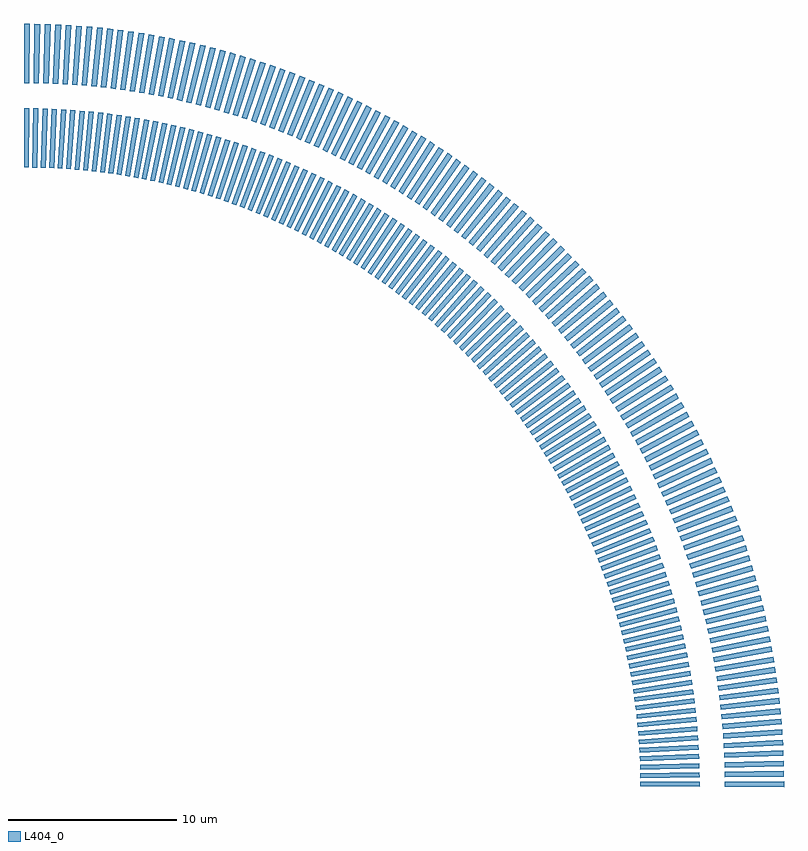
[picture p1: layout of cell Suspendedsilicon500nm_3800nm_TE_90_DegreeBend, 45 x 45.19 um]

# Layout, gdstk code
import gdstk
lib = gdstk.Library(unit=1e-6, precision=1e-09)
def P(c, l, *ps):  # polygons
    for p in ps: c.add(gdstk.Polygon(p, *l))
L404_0 = (404, 0)

suspendedsilicon500nm_38 = lib.new_cell('Suspendedsilicon500nm_3800nm_TE_90_DegreeBend')
P(suspendedsilicon500nm_38, L404_0, [(36.049,-20.191),(35.894,-19.921),(38.921,-18.164),(39.09,-18.457)],
  [(35.763,-19.697),(35.604,-19.429),(38.607,-17.631),(38.779,-17.921)],
  [(35.47,-19.207),(35.308,-18.942),(38.286,-17.103),(38.462,-17.39)],
  [(35.171,-18.722),(35.005,-18.458),(37.957,-16.578),(38.137,-16.864)],
  [(30.389,-20.532),(30.236,-20.305),(33.136,-18.344),(33.303,-18.594)],
  [(30.108,-20.116),(29.952,-19.891),(32.825,-17.891),(32.995,-18.138)],
  [(29.821,-19.704),(29.663,-19.481),(32.507,-17.442),(32.681,-17.686)],
  [(29.529,-19.296),(29.368,-19.075),(32.184,-16.997),(32.361,-17.239)],
  [(29.231,-18.892),(29.067,-18.674),(31.854,-16.557),(32.035,-16.796)],
  [(28.928,-18.492),(28.76,-18.276),(31.518,-16.121),(31.702,-16.358)],
  [(22.594,-12.084),(22.378,-11.915),(24.524,-9.15),(24.761,-9.335)],
  [(22.198,-11.776),(21.98,-11.61),(24.088,-8.816),(24.326,-8.997)],
  [(21.797,-11.473),(21.577,-11.31),(23.646,-8.488),(23.887,-8.666)],
  [(21.393,-11.176),(21.17,-11.017),(23.2,-8.165),(23.444,-8.34)],
  [(20.984,-10.885),(20.759,-10.728),(22.75,-7.85),(22.996,-8.021)],
  [(20.571,-10.599),(20.345,-10.446),(22.296,-7.54),(22.544,-7.708)],
  [(22.438,-5.839),(22.176,-5.671),(24.046,-2.713),(24.33,-2.894)],
  [(21.956,-5.534),(21.691,-5.37),(23.521,-2.386),(23.808,-2.563)],
  [(21.47,-5.235),(21.203,-5.075),(22.991,-2.066),(23.28,-2.24)],
  [(20.979,-4.943),(20.71,-4.787),(22.457,-1.754),(22.749,-1.923)],
  [(28.305,-17.705),(28.132,-17.494),(30.829,-15.264),(31.02,-15.496)],
  [(31.819,-14.109),(31.619,-13.871),(34.285,-11.604),(34.503,-11.862)],
  [(27.986,-17.318),(27.809,-17.109),(30.476,-14.842),(30.669,-15.071)],
  [(31.45,-13.674),(31.246,-13.438),(33.881,-11.135),(34.103,-11.39)],
  [(27.661,-16.936),(27.482,-16.729),(30.117,-14.426),(30.313,-14.652)],
  [(31.075,-13.244),(30.868,-13.011),(33.471,-10.672),(33.696,-10.924)],
  [(27.331,-16.558),(27.149,-16.353),(29.752,-14.014),(29.952,-14.238)],
  [(30.694,-12.819),(30.483,-12.59),(33.054,-10.215),(33.282,-10.463)],
  [(26.996,-16.184),(26.811,-15.982),(29.382,-13.607),(29.584,-13.829)],
  [(30.307,-12.4),(30.093,-12.173),(32.631,-9.763),(32.863,-10.009)],
  [(26.655,-15.815),(26.468,-15.616),(29.006,-13.206),(29.211,-13.424)],
  [(29.914,-11.986),(29.698,-11.762),(32.202,-9.317),(32.437,-9.56)],
  [(26.31,-15.451),(26.12,-15.254),(28.624,-12.81),(28.833,-13.025)],
  [(29.516,-11.577),(29.296,-11.356),(31.767,-8.877),(32.005,-9.117)],
  [(25.96,-15.092),(25.766,-14.898),(28.237,-12.419),(28.449,-12.631)],
  [(29.112,-11.174),(28.889,-10.956),(31.326,-8.444),(31.567,-8.68)],
  [(25.604,-14.737),(25.409,-14.546),(27.845,-12.033),(28.06,-12.243)],
  [(28.703,-10.776),(28.477,-10.562),(30.879,-8.016),(31.123,-8.249)],
  [(25.244,-14.388),(25.046,-14.199),(27.448,-11.653),(27.665,-11.86)],
  [(28.288,-10.385),(28.059,-10.173),(30.426,-7.595),(30.673,-7.824)],
  [(24.879,-14.043),(24.678,-13.857),(27.045,-11.278),(27.265,-11.482)],
  [(27.868,-9.998),(27.636,-9.79),(29.967,-7.179),(30.218,-7.405)],
  [(24.51,-13.703),(24.306,-13.52),(26.637,-10.909),(26.86,-11.11)],
  [(27.442,-9.618),(27.208,-9.413),(29.502,-6.77),(29.756,-6.993)],
  [(24.136,-13.369),(23.93,-13.189),(26.224,-10.546),(26.45,-10.743)],
  [(27.011,-9.244),(26.774,-9.042),(29.032,-6.368),(29.29,-6.587)],
  [(23.757,-13.04),(23.548,-12.862),(25.807,-10.188),(26.035,-10.383)],
  [(26.576,-8.875),(26.336,-8.677),(28.557,-5.972),(28.817,-6.187)],
  [(23.374,-12.716),(23.163,-12.541),(25.384,-9.836),(25.615,-10.027)],
  [(26.135,-8.513),(25.892,-8.318),(28.076,-5.583),(28.339,-5.794)],
  [(22.986,-12.397),(22.773,-12.225),(24.957,-9.49),(25.19,-9.678)],
  [(25.689,-8.157),(25.444,-7.965),(27.59,-5.2),(27.856,-5.408)],
  [(34.865,-18.24),(34.695,-17.979),(37.621,-16.059),(37.805,-16.342)],
  [(25.239,-7.807),(24.991,-7.618),(27.099,-4.824),(27.367,-5.028)],
  [(33.574,-16.357),(33.391,-16.106),(36.207,-14.028),(36.406,-14.3)],
  [(24.783,-7.463),(24.533,-7.278),(26.602,-4.455),(26.873,-4.655)],
  [(34.232,-17.29),(34.056,-17.034),(36.928,-15.034),(37.12,-15.311)],
  [(24.323,-7.125),(24.07,-6.944),(26.1,-4.092),(26.375,-4.289)],
  [(33.236,-15.898),(33.049,-15.649),(35.836,-13.533),(36.039,-13.802)],
  [(23.859,-6.794),(23.603,-6.616),(25.594,-3.737),(25.871,-3.93)],
  [(34.552,-17.763),(34.378,-17.504),(37.278,-15.544),(37.466,-15.824)],
  [(23.389,-6.469),(23.132,-6.294),(25.083,-3.389),(25.362,-3.578)],
  [(32.891,-15.443),(32.7,-15.197),(35.458,-13.042),(35.665,-13.309)],
  [(22.916,-6.151),(22.656,-5.98),(24.567,-3.047),(24.849,-3.233)],
  [(33.907,-16.821),(33.726,-16.568),(36.571,-14.528),(36.766,-14.803)],
  [(32.54,-14.994),(32.346,-14.75),(35.074,-12.558),(35.284,-12.821)],
  [(28.619,-18.097),(28.449,-17.883),(31.177,-15.69),(31.364,-15.925)],
  [(32.183,-14.549),(31.985,-14.308),(34.683,-12.078),(34.897,-12.339)],
  [(19.311,-9.776),(19.078,-9.632),(20.907,-6.649),(21.162,-6.806)],
  [(19.735,-10.045),(19.504,-9.898),(21.374,-6.939),(21.627,-7.101)],
  [(18.883,-9.514),(18.648,-9.373),(20.436,-6.364),(20.694,-6.519)],
  [(20.155,-10.319),(19.926,-10.169),(21.837,-7.236),(22.088,-7.401)],
  [(18.452,-9.257),(18.215,-9.12),(19.962,-6.087),(20.221,-6.237)],
  [(20.485,-4.658),(20.214,-4.505),(21.919,-1.449),(22.213,-1.614)],
  [(18.017,-9.006),(17.778,-8.872),(19.483,-5.815),(19.745,-5.963)],
  [(19.987,-4.38),(19.713,-4.231),(21.376,-1.151),(21.672,-1.312)],
  [(17.579,-8.762),(17.338,-8.631),(19.001,-5.551),(19.264,-5.694)],
  [(19.485,-4.108),(19.209,-3.963),(20.83,-0.861),(21.128,-1.018)],
  [(17.137,-8.523),(16.895,-8.395),(18.515,-5.293),(18.781,-5.433)],
  [(18.979,-3.844),(18.702,-3.703),(20.279,-0.578),(20.58,-0.731)],
  [(16.692,-8.29),(16.449,-8.166),(18.026,-5.042),(18.293,-5.178)],
  [(18.47,-3.586),(18.191,-3.449),(19.725,-0.303),(20.028,-0.452)],
  [(16.245,-8.064),(15.999,-7.943),(17.533,-4.797),(17.802,-4.93)],
  [(17.957,-3.336),(17.676,-3.202),(19.167,-0.036),(19.472,-0.181)],
  [(15.794,-7.844),(15.546,-7.726),(17.037,-4.559),(17.308,-4.688)],
  [(17.441,-3.093),(17.158,-2.963),(18.605,0.223),(18.912,0.082)],
  [(15.34,-7.63),(15.091,-7.515),(16.538,-4.329),(16.811,-4.454)],
  [(16.922,-2.856),(16.637,-2.731),(18.04,0.475),(18.349,0.338)],
  [(14.883,-7.422),(14.632,-7.311),(16.036,-4.105),(16.31,-4.226)],
  [(16.399,-2.627),(16.113,-2.505),(17.472,0.719),(17.782,0.587)],
  [(14.423,-7.22),(14.171,-7.113),(15.53,-3.888),(15.806,-4.005)],
  [(15.873,-2.405),(15.585,-2.287),(16.9,0.955),(17.212,0.827)],
  [(13.961,-7.025),(13.708,-6.921),(15.022,-3.678),(15.3,-3.791)],
  [(15.345,-2.191),(15.055,-2.077),(16.325,1.184),(16.639,1.06)],
  [(13.496,-6.836),(13.241,-6.736),(14.511,-3.475),(14.79,-3.584)],
  [(14.813,-1.983),(14.522,-1.873),(15.747,1.404),(16.062,1.285)],
  [(13.028,-6.654),(12.772,-6.557),(13.997,-3.279),(14.278,-3.385)],
  [(14.279,-1.783),(13.986,-1.677),(15.166,1.617),(15.483,1.502)],
  [(12.558,-6.478),(12.301,-6.385),(13.48,-3.09),(13.762,-3.192)],
  [(13.741,-1.591),(13.447,-1.489),(14.582,1.821),(14.9,1.711)],
  [(12.086,-6.309),(11.827,-6.219),(12.961,-2.908),(13.245,-3.006)],
  [(13.202,-1.405),(12.906,-1.308),(13.995,2.018),(14.315,1.912)],
  [(11.611,-6.146),(11.351,-6.06),(12.44,-2.733),(12.725,-2.828)],
  [(12.66,-1.228),(12.363,-1.134),(13.405,2.206),(13.727,2.104)],
  [(11.134,-5.989),(10.873,-5.907),(11.916,-2.566),(12.202,-2.656)],
  [(12.115,-1.057),(11.817,-0.968),(12.814,2.386),(13.137,2.289)],
  [(10.655,-5.84),(10.393,-5.761),(11.39,-2.406),(11.677,-2.492)],
  [(11.568,-0.895),(11.269,-0.809),(12.219,2.559),(12.544,2.466)],
  [(10.174,-5.696),(9.911,-5.621),(10.861,-2.253),(11.15,-2.335)],
  [(11.019,-0.739),(10.719,-0.658),(11.623,2.723),(11.948,2.634)],
  [(9.691,-5.56),(9.427,-5.488),(10.331,-2.107),(10.621,-2.185)],
  [(10.468,-0.591),(10.166,-0.514),(11.024,2.878),(11.351,2.794)],
  [(9.207,-5.43),(8.941,-5.362),(9.799,-1.968),(10.089,-2.043)],
  [(9.915,-0.451),(9.612,-0.378),(10.423,3.026),(10.751,2.946)],
  [(8.72,-5.307),(8.454,-5.242),(9.265,-1.837),(9.556,-1.908)],
  [(9.36,-0.319),(9.056,-0.25),(9.82,3.165),(10.149,3.09)],
  [(8.232,-5.19),(7.965,-5.129),(8.729,-1.714),(9.021,-1.78)],
  [(8.803,-0.194),(8.498,-0.129),(9.215,3.296),(9.545,3.225)],
  [(7.742,-5.08),(7.474,-5.023),(8.191,-1.597),(8.485,-1.66)],
  [(8.244,-0.077),(7.939,-0.016),(8.609,3.418),(8.94,3.352)],
  [(7.251,-4.977),(6.982,-4.924),(7.652,-1.488),(7.946,-1.547)],
  [(7.684,0.032),(7.378,0.088),(8.001,3.532),(8.332,3.471)],
  [(6.758,-4.881),(6.489,-4.831),(7.112,-1.387),(7.407,-1.441)],
  [(7.123,0.134),(6.816,0.186),(7.391,3.638),(7.724,3.582)],
  [(6.265,-4.791),(5.995,-4.745),(6.57,-1.293),(6.865,-1.343)],
  [(6.56,0.228),(6.253,0.276),(6.78,3.736),(7.113,3.684)],
  [(5.77,-4.708),(5.499,-4.666),(6.027,-1.206),(6.323,-1.252)],
  [(5.996,0.314),(5.688,0.358),(6.168,3.825),(6.502,3.777)],
  [(5.274,-4.633),(5.002,-4.594),(5.482,-1.127),(5.779,-1.169)],
  [(5.431,0.393),(5.122,0.432),(5.554,3.905),(5.889,3.862)],
  [(4.776,-4.563),(4.505,-4.529),(4.937,-1.055),(5.234,-1.094)],
  [(4.865,0.463),(4.555,0.499),(4.94,3.978),(5.275,3.939)],
  [(4.278,-4.501),(4.006,-4.47),(4.391,-0.991),(4.689,-1.025)],
  [(4.297,0.526),(3.988,0.557),(4.324,4.041),(4.66,4.008)],
  [(3.78,-4.446),(3.507,-4.418),(3.844,-0.935),(4.142,-0.965)],
  [(3.729,0.582),(3.419,0.608),(3.708,4.096),(4.044,4.067)],
  [(3.28,-4.397),(3.007,-4.374),(3.296,-0.886),(3.595,-0.911)],
  [(3.161,0.629),(2.85,0.651),(3.091,4.143),(3.427,4.119)],
  [(2.78,-4.356),(2.507,-4.336),(2.747,-0.844),(3.047,-0.866)],
  [(2.592,0.668),(2.281,0.687),(2.473,4.181),(2.81,4.162)],
  [(2.279,-4.321),(2.006,-4.305),(2.198,-0.81),(2.498,-0.828)],
  [(2.022,0.7),(1.711,0.714),(1.855,4.211),(2.192,4.196)],
  [(1.778,-4.293),(1.505,-4.281),(1.649,-0.784),(1.949,-0.797)],
  [(1.452,0.724),(1.141,0.734),(1.237,4.232),(1.574,4.222)],
  [(1.277,-4.272),(1.003,-4.263),(1.099,-0.765),(1.399,-0.774)],
  [(0.881,0.74),(0.57,0.746),(0.618,4.245),(0.956,4.239)],
  [(0.775,-4.258),(0.501,-4.253),(0.549,-0.753),(0.849,-0.759)],
  [(0.311,0.748),(0,0.75),(0,4.25),(0.337,4.248)],
  [(0.273,-4.251),(0,-4.25),(0,-0.75),(0.299,-0.751)],
  [(37.125,-22.203),(36.985,-21.926),(40.104,-20.338),(40.256,-20.639)],
  [(32.652,-24.438),(32.529,-24.194),(35.648,-22.606),(35.783,-22.874)],
  [(36.866,-21.695),(36.722,-21.419),(39.82,-19.789),(39.976,-20.088)],
  [(32.425,-23.991),(32.298,-23.748),(35.395,-22.118),(35.534,-22.384)],
  [(36.601,-21.19),(36.453,-20.916),(39.528,-19.243),(39.688,-19.54)],
  [(32.191,-23.546),(32.061,-23.305),(35.136,-21.633),(35.278,-21.897)],
  [(36.329,-20.688),(36.177,-20.416),(39.228,-18.702),(39.392,-18.996)],
  [(31.952,-23.105),(31.818,-22.866),(34.869,-21.151),(35.015,-21.413)],
  [(44.999,-40.939),(41.499,-40.924),(41.499,-40.613),(44.999,-40.602)],
  [(31.706,-22.668),(31.569,-22.43),(34.597,-20.674),(34.746,-20.934)],
  [(39.999,-40.918),(36.499,-40.903),(36.499,-40.63),(39.999,-40.618)],
  [(31.454,-22.233),(31.315,-21.998),(34.317,-20.2),(34.47,-20.458)],
  [(41.498,-40.354),(41.493,-40.043),(44.993,-39.983),(44.997,-40.32)],
  [(31.197,-21.803),(31.054,-21.569),(34.032,-19.73),(34.188,-19.986)],
  [(36.498,-40.402),(36.494,-40.128),(39.994,-40.068),(39.998,-40.368)],
  [(30.933,-21.375),(30.787,-21.144),(33.739,-19.264),(33.9,-19.518)],
  [(41.488,-39.783),(41.48,-39.472),(44.978,-39.364),(44.987,-39.702)],
  [(30.664,-20.952),(30.515,-20.723),(33.441,-18.802),(33.604,-19.054)],
  [(36.49,-39.9),(36.482,-39.626),(39.981,-39.518),(39.989,-39.818)],
  [(41.471,-39.213),(41.458,-38.902),(44.955,-38.746),(44.969,-39.083)],
  [(36.474,-39.398),(36.463,-39.125),(39.96,-38.969),(39.972,-39.268)],
  [(41.446,-38.643),(41.429,-38.332),(44.923,-38.128),(44.941,-38.465)],
  [(36.452,-38.897),(36.438,-38.623),(39.932,-38.419),(39.948,-38.719)],
  [(41.413,-38.073),(41.392,-37.763),(44.883,-37.511),(44.906,-37.847)],
  [(36.424,-38.396),(36.405,-38.123),(39.896,-37.871),(39.916,-38.17)],
  [(41.372,-37.504),(41.347,-37.194),(44.834,-36.894),(44.862,-37.23)],
  [(36.388,-37.895),(36.365,-37.622),(39.852,-37.322),(39.877,-37.621)],
  [(41.324,-36.935),(41.294,-36.626),(44.777,-36.278),(44.809,-36.614)],
  [(36.345,-37.395),(36.319,-37.122),(39.802,-36.775),(39.83,-37.073)],
  [(41.268,-36.368),(41.233,-36.058),(44.711,-35.663),(44.748,-35.998)],
  [(36.295,-36.896),(36.266,-36.623),(39.743,-36.228),(39.776,-36.526)],
  [(41.203,-35.801),(41.165,-35.492),(44.637,-35.048),(44.678,-35.383)],
  [(36.239,-36.397),(36.205,-36.125),(39.677,-35.682),(39.714,-35.979)],
  [(41.131,-35.235),(41.089,-34.926),(44.554,-34.435),(44.6,-34.769)],
  [(36.176,-35.899),(36.138,-35.628),(39.604,-35.137),(39.645,-35.434)],
  [(41.052,-34.67),(41.005,-34.362),(44.463,-33.823),(44.514,-34.157)],
  [(36.106,-35.402),(36.065,-35.131),(39.523,-34.593),(39.568,-34.889)],
  [(40.964,-34.106),(40.913,-33.799),(44.364,-33.212),(44.419,-33.545)],
  [(36.029,-34.906),(35.984,-34.636),(39.434,-34.05),(39.484,-34.346)],
  [(40.869,-33.543),(40.814,-33.237),(44.256,-32.603),(44.316,-32.935)],
  [(35.945,-34.411),(35.896,-34.142),(39.339,-33.508),(39.392,-33.803)],
  [(40.766,-32.982),(40.707,-32.676),(44.14,-31.995),(44.204,-32.327)],
  [(35.854,-33.918),(35.802,-33.649),(39.235,-32.968),(39.293,-33.263)],
  [(40.655,-32.422),(40.592,-32.117),(44.015,-31.389),(44.084,-31.72)],
  [(35.757,-33.425),(35.701,-33.157),(39.125,-32.429),(39.186,-32.723)],
  [(40.537,-31.864),(40.469,-31.56),(43.882,-30.785),(43.956,-31.114)],
  [(35.653,-32.934),(35.593,-32.667),(39.007,-31.892),(39.072,-32.185)],
  [(40.411,-31.307),(40.339,-31.004),(43.741,-30.182),(43.819,-30.511)],
  [(35.542,-32.445),(35.479,-32.178),(38.881,-31.357),(38.95,-31.648)],
  [(40.277,-30.752),(40.201,-30.451),(43.592,-29.582),(43.674,-29.909)],
  [(35.425,-31.957),(35.358,-31.691),(38.748,-30.823),(38.822,-31.114)],
  [(40.136,-30.2),(40.056,-29.899),(43.434,-28.984),(43.521,-29.31)],
  [(35.3,-31.471),(35.23,-31.206),(38.608,-30.291),(38.685,-30.581)],
  [(39.987,-29.649),(39.903,-29.349),(43.268,-28.388),(43.36,-28.712)],
  [(35.169,-30.986),(35.095,-30.723),(38.461,-29.761),(38.542,-30.05)],
  [(39.831,-29.1),(39.742,-28.802),(43.094,-27.794),(43.19,-28.117)],
  [(35.032,-30.503),(34.954,-30.241),(38.306,-29.233),(38.391,-29.521)],
  [(39.667,-28.553),(39.574,-28.256),(42.912,-27.203),(43.012,-27.525)],
  [(34.888,-30.023),(34.806,-29.761),(38.144,-28.708),(38.233,-28.994)],
  [(39.495,-28.009),(39.399,-27.713),(42.722,-26.614),(42.826,-26.935)],
  [(34.737,-29.544),(34.652,-29.284),(37.975,-28.184),(38.068,-28.47)],
  [(39.317,-27.467),(39.216,-27.173),(42.523,-26.028),(42.632,-26.347)],
  [(34.58,-29.068),(34.491,-28.809),(37.798,-27.663),(37.895,-27.947)],
  [(39.13,-26.928),(39.025,-26.635),(42.317,-25.444),(42.43,-25.762)],
  [(34.416,-28.593),(34.324,-28.335),(37.615,-27.145),(37.716,-27.427)],
  [(38.936,-26.391),(38.828,-26.1),(42.102,-24.864),(42.22,-25.18)],
  [(34.245,-28.121),(34.15,-27.865),(37.424,-26.629),(37.529,-26.91)],
  [(38.735,-25.857),(38.623,-25.567),(41.88,-24.287),(42.002,-24.601)],
  [(34.068,-27.651),(33.969,-27.396),(37.227,-26.116),(37.335,-26.395)],
  [(38.527,-25.326),(38.41,-25.037),(41.65,-23.712),(41.776,-24.025)],
  [(33.885,-27.184),(33.782,-26.93),(37.022,-25.605),(37.134,-25.883)],
  [(38.311,-24.798),(38.191,-24.511),(41.411,-23.141),(41.542,-23.452)],
  [(33.695,-26.72),(33.589,-26.467),(36.81,-25.098),(36.926,-25.374)],
  [(38.088,-24.272),(37.964,-23.987),(41.165,-22.574),(41.301,-22.883)],
  [(33.499,-26.258),(33.39,-26.007),(36.591,-24.593),(36.712,-24.868)],
  [(37.858,-23.75),(37.73,-23.467),(40.912,-22.009),(41.051,-22.317)],
  [(33.297,-25.798),(33.184,-25.549),(36.366,-24.091),(36.49,-24.365)],
  [(37.621,-23.231),(37.488,-22.95),(40.65,-21.448),(40.794,-21.754)],
  [(33.088,-25.342),(32.972,-25.094),(36.133,-23.593),(36.261,-23.865)],
  [(37.376,-22.716),(37.24,-22.436),(40.381,-20.891),(40.529,-21.195)],
  [(32.873,-24.888),(32.753,-24.642),(35.894,-23.098),(36.025,-23.368)])

lib.write_gds('Suspendedsilicon500nm_3800nm_TE_90_DegreeBend.gds')
